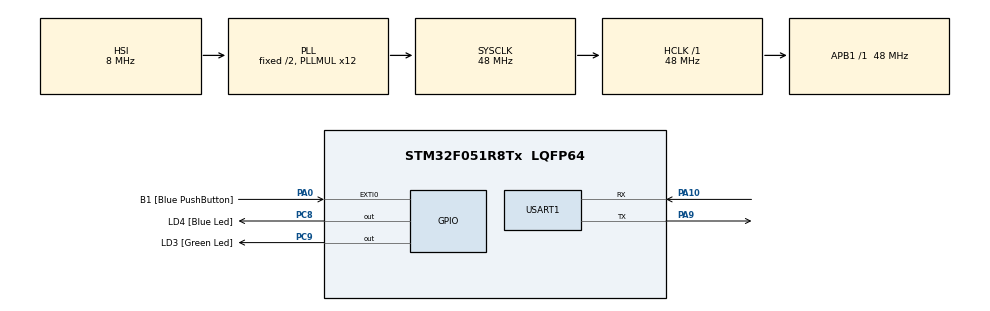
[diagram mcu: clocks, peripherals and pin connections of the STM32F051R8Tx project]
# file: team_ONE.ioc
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Mcu.Family=STM32F0
Mcu.Name=STM32F051R8Tx
Mcu.Package=LQFP64
NVIC.USART1_IRQn=true\:0\:0\:false\:false\:true\:true\:true\:true
PA0.GPIO_Label=B1 [Blue PushButton]
PA0.GPIO_ModeDefaultEXTI=GPIO_MODE_EVT_RISING
PA0.Signal=GPXTI0
PA10.Mode=Asynchronous
PA10.Signal=USART1_RX
PA13.GPIO_Label=SWDIO
PA13.Mode=Serial_Wire
PA13.Signal=SYS_SWDIO
PA14.GPIO_Label=SWCLK
PA14.Mode=Serial_Wire
PA14.Signal=SYS_SWCLK
PA9.Mode=Asynchronous
PA9.Signal=USART1_TX
PC8.GPIO_Label=LD4 [Blue Led]
PC8.Signal=GPIO_Output
PC9.GPIO_Label=LD3 [Green Led]
PC9.Signal=GPIO_Output
ProjectManager.HeapSize=0x200
ProjectManager.StackSize=0x400
ProjectManager.TargetToolchain=STM32CubeIDE
RCC.AHBFreq_Value=48000000
RCC.APB1Freq_Value=48000000
RCC.APB1TimFreq_Value=48000000
RCC.HCLKFreq_Value=48000000
RCC.PLLMUL=RCC_PLL_MUL12
RCC.SYSCLKFreq_VALUE=48000000
RCC.SYSCLKSource=RCC_SYSCLKSOURCE_PLLCLK
USART1.VirtualMode-Asynchronous=VM_ASYNC
board=STM32F0DISCOVERY

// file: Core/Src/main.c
/* USER CODE BEGIN Header */
/**
  ******************************************************************************
  * @file           : main.c
  * @brief          : Main program body
  ******************************************************************************
  */
/* USER CODE END Header */
#include "main.h"
#include <string.h> // Для роботи з рядками

UART_HandleTypeDef huart1;

uint8_t rx_data[1];          // Буфер для прийому одного байта
uint8_t rx_buffer[100];      // Буфер для зберігання прийнятих команд
uint8_t rx_index = 0;        // Поточний індекс для запису в rx_buffer

#define FLASH_USER_START_ADDR   ((uint32_t)0x08008000) // Початкова адреса флеш-пам'яті
#define FLASH_USER_END_ADDR     ((uint32_t)0x08010000) // Кінцева адреса флеш-пам'яті
#define MAX_PACKET_SIZE         64                     // Розмір одного пакета даних

void SystemClock_Config(void);
static void MX_GPIO_Init(void);
static void MX_USART1_UART_Init(void);

/* USER CODE BEGIN 0 */
// Функція для запису у флеш-пам'ять
void Flash_Write(uint32_t startAddress, uint8_t *data, uint16_t length) {
    HAL_FLASH_Unlock();
    for (uint16_t i = 0; i < length; i++) {
        HAL_FLASH_Program(FLASH_TYPEPROGRAM_HALFWORD, startAddress + i * 2, data[i]);
    }
    HAL_FLASH_Lock();
}

// Функція для читання з флеш-пам'яті
void Flash_Read(uint32_t startAddress, uint8_t *data, uint16_t length) {
    for (uint16_t i = 0; i < length; i++) {
        data[i] = *(__IO uint8_t *)(startAddress + i);
    }
}

void Flash_Erase(uint32_t startAddress, uint32_t endAddress) {
    HAL_FLASH_Unlock();

    FLASH_EraseInitTypeDef eraseInitStruct;
    uint32_t pageError = 0;

    eraseInitStruct.TypeErase = FLASH_TYPEERASE_PAGES;
    eraseInitStruct.PageAddress = startAddress;
    eraseInitStruct.NbPages = (endAddress - startAddress) / FLASH_PAGE_SIZE;

    if (HAL_FLASHEx_Erase(&eraseInitStruct, &pageError) != HAL_OK) {
        HAL_UART_Transmit(&huart1, (uint8_t *)"Flash erase failed!\n\r", 22, HAL_MAX_DELAY);
        Error_Handler();
    }

    HAL_FLASH_Lock();
}

void HAL_UART_RxCpltCallback(UART_HandleTypeDef *huart) {
    if (huart->Instance == USART1) {
        if (rx_data[0] == '\r') {
            rx_buffer[rx_index] = '\0';
            rx_index = 0;

            if (strncmp((char *)rx_buffer, "WRITE_FLASH", 11) == 0) {
                uint8_t *data = (uint8_t *)(rx_buffer + 12);
                uint16_t data_length = strlen((char *)data);

                // Очищення флеш-пам'яті
                Flash_Erase(FLASH_USER_START_ADDR, FLASH_USER_END_ADDR);

                // Запис даних у флеш
                Flash_Write(FLASH_USER_START_ADDR, data, data_length);
                HAL_UART_Transmit(&huart1, (uint8_t *)"Data written to flash\n\r", 24, HAL_MAX_DELAY);
            } else if (strcmp((char *)rx_buffer, "READ_FLASH") == 0) {
                uint8_t packet[MAX_PACKET_SIZE];
                uint32_t address = FLASH_USER_START_ADDR;

                while (address < FLASH_USER_END_ADDR) {
                    Flash_Read(address, packet, sizeof(packet));
                    HAL_UART_Transmit(&huart1, packet, sizeof(packet), HAL_MAX_DELAY);
                    address += sizeof(packet);
                }

                HAL_UART_Transmit(&huart1, (uint8_t *)"Flash read complete\n\r", 22, HAL_MAX_DELAY);
            } else {
                HAL_UART_Transmit(&huart1, (uint8_t *)"Unknown command\n\r", 17, HAL_MAX_DELAY);
            }
        } else {
            rx_buffer[rx_index++] = rx_data[0];
        }

        HAL_UART_Receive_IT(&huart1, rx_data, 1);
    }
}

/* USER CODE END 0 */

int main(void) {
    HAL_Init();               // Ініціалізація HAL
    SystemClock_Config();     // Налаштування системного годинника
    MX_GPIO_Init();           // Ініціалізація GPIO
    MX_USART1_UART_Init();    // Ініціалізація UART

    // Зразок для тестування: записати рядок у флеш-пам'ять
    uint8_t data_to_store[256] = "Hello, this is test data for flash memory!";
    Flash_Write(FLASH_USER_START_ADDR, data_to_store, strlen((char *)data_to_store));

    // Увімкнути переривання для прийому UART
    HAL_UART_Receive_IT(&huart1, rx_data, 1);

    while (1) {
        // Основний цикл (виконується постійно)
    }
}

void SystemClock_Config(void) {
    RCC_OscInitTypeDef RCC_OscInitStruct = {0};
    RCC_ClkInitTypeDef RCC_ClkInitStruct = {0};

    /** Налаштування осцилятора */
    RCC_OscInitStruct.OscillatorType = RCC_OSCILLATORTYPE_HSI;
    RCC_OscInitStruct.HSIState = RCC_HSI_ON;
    RCC_OscInitStruct.HSICalibrationValue = RCC_HSICALIBRATION_DEFAULT;
    RCC_OscInitStruct.PLL.PLLState = RCC_PLL_ON;
    RCC_OscInitStruct.PLL.PLLSource = RCC_PLLSOURCE_HSI;  // Видаліть цей рядок для STM32F0
    RCC_OscInitStruct.PLL.PLLMUL = RCC_PLL_MUL12;
    RCC_OscInitStruct.PLL.PREDIV = RCC_PREDIV_DIV1;

    if (HAL_RCC_OscConfig(&RCC_OscInitStruct) != HAL_OK) {
        Error_Handler();
    }

    /** Налаштування шин */
    RCC_ClkInitStruct.ClockType = RCC_CLOCKTYPE_HCLK | RCC_CLOCKTYPE_SYSCLK | RCC_CLOCKTYPE_PCLK1;
    RCC_ClkInitStruct.SYSCLKSource = RCC_SYSCLKSOURCE_PLLCLK;
    RCC_ClkInitStruct.AHBCLKDivider = RCC_SYSCLK_DIV1;
    RCC_ClkInitStruct.APB1CLKDivider = RCC_HCLK_DIV1;

    if (HAL_RCC_ClockConfig(&RCC_ClkInitStruct, FLASH_LATENCY_1) != HAL_OK) {
        Error_Handler();
    }
}

static void MX_USART1_UART_Init(void) {
    huart1.Instance = USART1;
    huart1.Init.BaudRate = 38400;
    huart1.Init.WordLength = UART_WORDLENGTH_8B;
    huart1.Init.StopBits = UART_STOPBITS_1;
    huart1.Init.Parity = UART_PARITY_NONE;
    huart1.Init.Mode = UART_MODE_TX_RX;
    huart1.Init.HwFlowCtl = UART_HWCONTROL_NONE;
    huart1.Init.OverSampling = UART_OVERSAMPLING_16;
    if (HAL_UART_Init(&huart1) != HAL_OK) {
        Error_Handler();
    }
}

static void MX_GPIO_Init(void) {
    __HAL_RCC_GPIOA_CLK_ENABLE();
    __HAL_RCC_GPIOC_CLK_ENABLE();
}

/**
  * @brief Error Handler
  * @retval None
  */
void Error_Handler(void) {
    __disable_irq();
    while (1) {
    }
}
